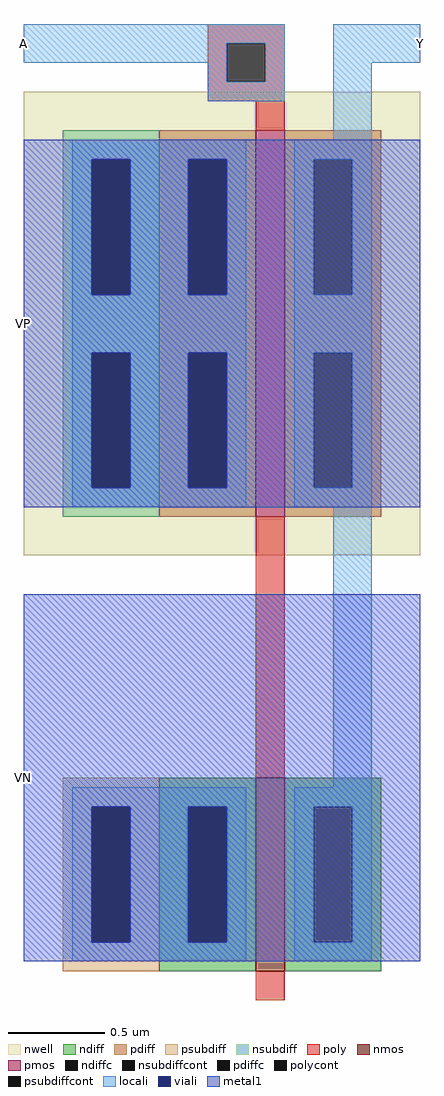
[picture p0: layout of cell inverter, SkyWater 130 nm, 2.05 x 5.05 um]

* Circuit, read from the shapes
.subckt inverter A Y VP VN
XM1 Y A VN VN sky130_fd_pr__nfet_01v8 w=1 l=0.15
XM2 Y A VP VP sky130_fd_pr__pfet_01v8 w=2 l=0.15
.ends

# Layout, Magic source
magic
tech sky130A
<< nwell >>
rect -120 350 85 590
<< nmos >>
rect 0 135 15 235
<< pmos >>
rect 0 370 15 570
<< ndiff >>
rect -50 220 0 235
rect -50 150 -35 220
rect -15 150 0 220
rect -50 135 0 150
rect 15 220 65 235
rect 15 150 30 220
rect 50 150 65 220
rect 15 135 65 150
<< pdiff >>
rect -50 555 0 570
rect -50 485 -35 555
rect -15 485 0 555
rect -50 455 0 485
rect -50 385 -35 455
rect -15 385 0 455
rect -50 370 0 385
rect 15 555 65 570
rect 15 485 30 555
rect 50 485 65 555
rect 15 455 65 485
rect 15 385 30 455
rect 50 385 65 455
rect 15 370 65 385
<< ndiffc >>
rect -35 150 -15 220
rect 30 150 50 220
<< pdiffc >>
rect -35 485 -15 555
rect -35 385 -15 455
rect 30 485 50 555
rect 30 385 50 455
<< psubdiff >>
rect -100 220 -50 235
rect -100 150 -85 220
rect -65 150 -50 220
rect -100 135 -50 150
<< nsubdiff >>
rect -100 555 -50 570
rect -100 485 -85 555
rect -65 485 -50 555
rect -100 455 -50 485
rect -100 385 -85 455
rect -65 385 -50 455
rect -100 370 -50 385
<< psubdiffcont >>
rect -85 150 -65 220
<< nsubdiffcont >>
rect -85 485 -65 555
rect -85 385 -65 455
<< poly >>
rect -25 615 15 625
rect -25 595 -15 615
rect 5 595 15 615
rect -25 585 15 595
rect 0 570 15 585
rect 0 235 15 370
rect 0 120 15 135
<< polycont >>
rect -15 595 5 615
<< locali >>
rect -120 615 15 625
rect -120 605 -15 615
rect -25 595 -15 605
rect 5 595 15 615
rect -25 585 15 595
rect 40 605 85 625
rect 40 565 60 605
rect -95 555 -5 565
rect -95 485 -85 555
rect -65 485 -35 555
rect -15 485 -5 555
rect -95 455 -5 485
rect -95 385 -85 455
rect -65 385 -35 455
rect -15 385 -5 455
rect -95 375 -5 385
rect 20 555 60 565
rect 20 485 30 555
rect 50 485 60 555
rect 20 455 60 485
rect 20 385 30 455
rect 50 385 60 455
rect 20 375 60 385
rect 40 230 60 375
rect -95 220 -5 230
rect -95 150 -85 220
rect -65 150 -35 220
rect -15 150 -5 220
rect -95 140 -5 150
rect 20 220 60 230
rect 20 150 30 220
rect 50 150 60 220
rect 20 140 60 150
<< viali >>
rect -85 485 -65 555
rect -35 485 -15 555
rect -85 385 -65 455
rect -35 385 -15 455
rect -85 150 -65 220
rect -35 150 -15 220
<< metal1 >>
rect -120 555 85 565
rect -120 485 -85 555
rect -65 485 -35 555
rect -15 485 85 555
rect -120 455 85 485
rect -120 385 -85 455
rect -65 385 -35 455
rect -15 385 85 455
rect -120 375 85 385
rect -120 220 85 330
rect -120 150 -85 220
rect -65 150 -35 220
rect -15 150 85 220
rect -120 140 85 150
<< labels >>
rlabel metal1 -120 470 -120 470 7 VP
port 3 w
rlabel locali -120 615 -120 615 7 A
port 1 w
rlabel locali 85 615 85 615 3 Y
port 2 e
rlabel metal1 -120 235 -120 235 7 VN
port 4 w
<< end >>
